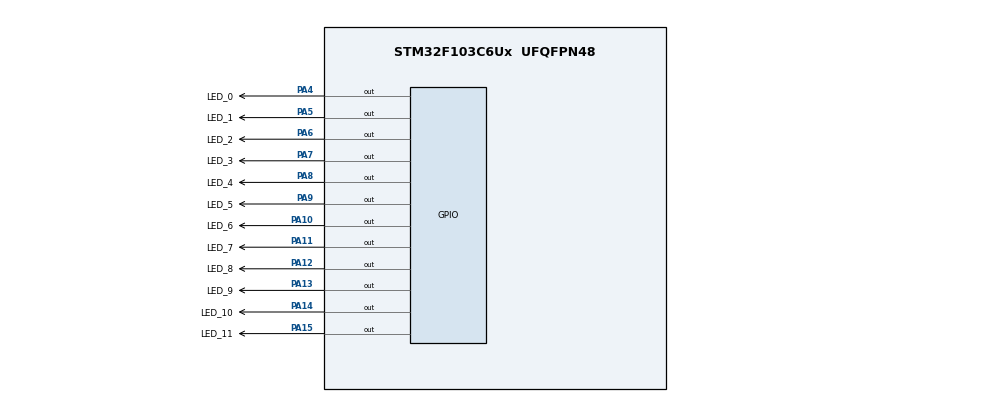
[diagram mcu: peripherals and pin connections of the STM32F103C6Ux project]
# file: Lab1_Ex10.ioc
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Mcu.Family=STM32F1
Mcu.Name=STM32F103C6Ux
Mcu.Package=UFQFPN48
NVIC.PriorityGroup=NVIC_PRIORITYGROUP_4
PA10.GPIO_Label=LED_6
PA10.PinState=GPIO_PIN_SET
PA10.Signal=GPIO_Output
PA11.GPIO_Label=LED_7
PA11.PinState=GPIO_PIN_SET
PA11.Signal=GPIO_Output
PA12.GPIO_Label=LED_8
PA12.PinState=GPIO_PIN_SET
PA12.Signal=GPIO_Output
PA13.GPIO_Label=LED_9
PA13.PinState=GPIO_PIN_SET
PA13.Signal=GPIO_Output
PA14.GPIO_Label=LED_10
PA14.PinState=GPIO_PIN_SET
PA14.Signal=GPIO_Output
PA15.GPIO_Label=LED_11
PA15.PinState=GPIO_PIN_SET
PA15.Signal=GPIO_Output
PA4.GPIO_Label=LED_0
PA4.PinState=GPIO_PIN_SET
PA4.Signal=GPIO_Output
PA5.GPIO_Label=LED_1
PA5.PinState=GPIO_PIN_SET
PA5.Signal=GPIO_Output
PA6.GPIO_Label=LED_2
PA6.PinState=GPIO_PIN_SET
PA6.Signal=GPIO_Output
PA7.GPIO_Label=LED_3
PA7.PinState=GPIO_PIN_SET
PA7.Signal=GPIO_Output
PA8.GPIO_Label=LED_4
PA8.PinState=GPIO_PIN_SET
PA8.Signal=GPIO_Output
PA9.GPIO_Label=LED_5
PA9.PinState=GPIO_PIN_SET
PA9.Signal=GPIO_Output
ProjectManager.HeapSize=0x200
ProjectManager.StackSize=0x400
ProjectManager.TargetToolchain=STM32CubeIDE
RCC.APB1Freq_Value=8000000
RCC.APB2Freq_Value=8000000
VP_SYS_VS_ND.Mode=No_Debug
board=custom

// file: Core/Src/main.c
/* USER CODE BEGIN Header */
/**
  ******************************************************************************
  * @file           : main.c
  * @brief          : Main program body
  *                   Lab 1 - Exercise 10 - Dong ho 12 LED (gio, phut, giay)
  ******************************************************************************
  * @attention
  *
  * <h2><center>&copy; Copyright (c) 2026 STMicroelectronics.
  * All rights reserved.</center></h2>
  *
  * This software component is licensed by ST under BSD 3-Clause license,
  * the "License"; You may not use this file except in compliance with the
  * License. You may obtain a copy of the License at:
  *                        opensource.org/licenses/BSD-3-Clause
  *
  ******************************************************************************
  */
/* USER CODE END Header */
#include "main.h"

/* USER CODE BEGIN Includes */
#include "led_clock.h"
/* USER CODE END Includes */

/* USER CODE BEGIN PD */
#define SECOND_MS   1000   /* do dai 1 giay (ms). Giam xuong (vd 10) de mo phong nhanh */
/* USER CODE END PD */

/* USER CODE BEGIN PV */
/* Thoi gian bat dau (co the doi) */
int hour = 10, minute = 10, second = 0;
/* USER CODE END PV */

void SystemClock_Config(void);
static void MX_GPIO_Init(void);
/* USER CODE BEGIN PFP */
static void displayClock(int h, int m, int s);
/* USER CODE END PFP */

/* USER CODE BEGIN 0 */
/* Chi 3 LED sang: kim gio (h mod 12), kim phut (m/5), kim giay (s/5).
   Neu 2 kim trung vi tri thi dung chung 1 LED. */
static void displayClock(int h, int m, int s)
{
  clearAllClock();
  setNumberOnClock(h % 12);
  setNumberOnClock(m / 5);
  setNumberOnClock(s / 5);
}
/* USER CODE END 0 */

int main(void)
{

  /* MCU Configuration--------------------------------------------------------*/

  /* Reset of all peripherals, Initializes the Flash interface and the Systick. */
  HAL_Init();

  /* Configure the system clock */
  SystemClock_Config();

  /* Initialize all configured peripherals */
  MX_GPIO_Init();
  /* USER CODE BEGIN 2 */
  uint32_t lastTick = HAL_GetTick();
  displayClock(hour, minute, second);
  /* USER CODE END 2 */

  /* Infinite loop */
  /* USER CODE BEGIN WHILE */
  while (1)
  {
    /* Dinh thoi theo HAL_GetTick() => khong bi troi thoi gian nhu HAL_Delay */
    if (HAL_GetTick() - lastTick >= SECOND_MS) {
      lastTick += SECOND_MS;

      second++;
      if (second >= 60) { second = 0; minute++; }
      if (minute >= 60) { minute = 0; hour++;   }
      if (hour   >= 24) { hour   = 0; }

      displayClock(hour, minute, second);
    }
    /* USER CODE END WHILE */

  }
}

void SystemClock_Config(void)
{
  RCC_OscInitTypeDef RCC_OscInitStruct = {0};
  RCC_ClkInitTypeDef RCC_ClkInitStruct = {0};

  /** Initializes the RCC Oscillators according to the specified parameters
  * in the RCC_OscInitTypeDef structure.
  */
  RCC_OscInitStruct.OscillatorType = RCC_OSCILLATORTYPE_HSI;
  RCC_OscInitStruct.HSIState = RCC_HSI_ON;
  RCC_OscInitStruct.HSICalibrationValue = RCC_HSICALIBRATION_DEFAULT;
  RCC_OscInitStruct.PLL.PLLState = RCC_PLL_NONE;
  if (HAL_RCC_OscConfig(&RCC_OscInitStruct) != HAL_OK)
  {
    Error_Handler();
  }
  /** Initializes the CPU, AHB and APB buses clocks
  */
  RCC_ClkInitStruct.ClockType = RCC_CLOCKTYPE_HCLK|RCC_CLOCKTYPE_SYSCLK
                              |RCC_CLOCKTYPE_PCLK1|RCC_CLOCKTYPE_PCLK2;
  RCC_ClkInitStruct.SYSCLKSource = RCC_SYSCLKSOURCE_HSI;
  RCC_ClkInitStruct.AHBCLKDivider = RCC_SYSCLK_DIV1;
  RCC_ClkInitStruct.APB1CLKDivider = RCC_HCLK_DIV1;
  RCC_ClkInitStruct.APB2CLKDivider = RCC_HCLK_DIV1;

  if (HAL_RCC_ClockConfig(&RCC_ClkInitStruct, FLASH_LATENCY_0) != HAL_OK)
  {
    Error_Handler();
  }
}

static void MX_GPIO_Init(void)
{
  GPIO_InitTypeDef GPIO_InitStruct = {0};

  /* GPIO Ports Clock Enable */
  __HAL_RCC_GPIOA_CLK_ENABLE();

  /*Configure GPIO pin Output Level */
  HAL_GPIO_WritePin(GPIOA, LED_0_Pin|LED_1_Pin|LED_2_Pin
                          |LED_3_Pin|LED_4_Pin|LED_5_Pin
                          |LED_6_Pin|LED_7_Pin|LED_8_Pin
                          |LED_9_Pin|LED_10_Pin|LED_11_Pin, GPIO_PIN_SET);

  /*Configure GPIO pins : LED_0_Pin LED_1_Pin LED_2_Pin LED_3_Pin LED_4_Pin LED_5_Pin LED_6_Pin LED_7_Pin LED_8_Pin LED_9_Pin LED_10_Pin LED_11_Pin */
  GPIO_InitStruct.Pin = LED_0_Pin|LED_1_Pin|LED_2_Pin
                          |LED_3_Pin|LED_4_Pin|LED_5_Pin
                          |LED_6_Pin|LED_7_Pin|LED_8_Pin
                          |LED_9_Pin|LED_10_Pin|LED_11_Pin;
  GPIO_InitStruct.Mode = GPIO_MODE_OUTPUT_PP;
  GPIO_InitStruct.Pull = GPIO_NOPULL;
  GPIO_InitStruct.Speed = GPIO_SPEED_FREQ_LOW;
  HAL_GPIO_Init(GPIOA, &GPIO_InitStruct);

}

void Error_Handler(void)
{
  __disable_irq();
  while (1)
  {
  }
}

/************************ (C) COPYRIGHT STMicroelectronics *****END OF FILE****/
